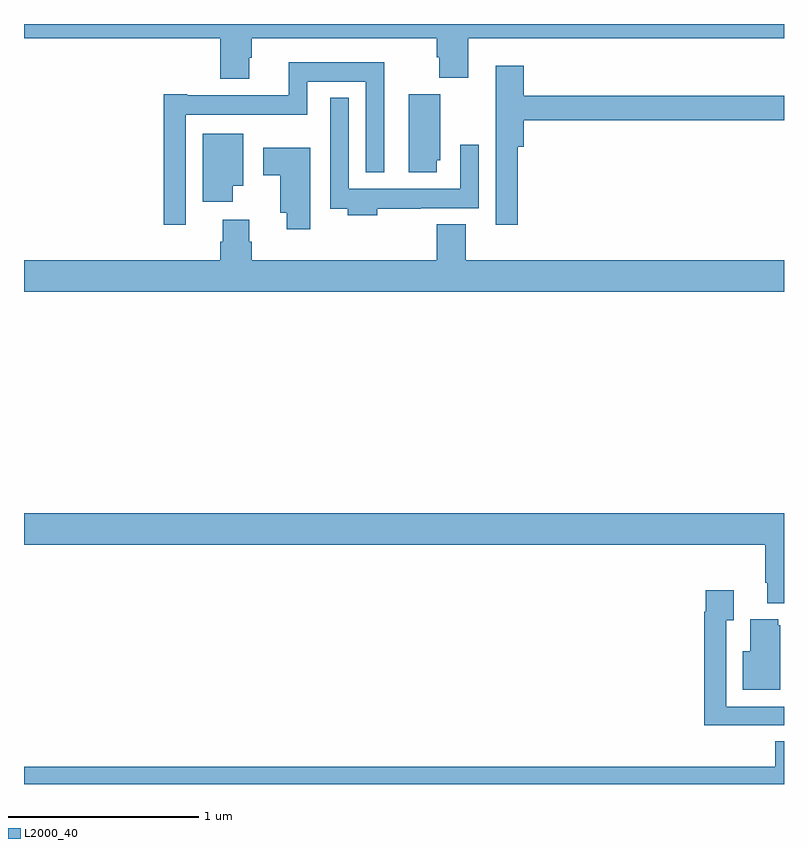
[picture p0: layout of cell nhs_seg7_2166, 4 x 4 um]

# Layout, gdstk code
import gdstk
lib = gdstk.Library(unit=1e-6, precision=1e-09)
def P(c, l, *ps):  # polygons
    for p in ps: c.add(gdstk.Polygon(p, *l))
L2000_40 = (2000, 40)

nhs_seg7_2166 = lib.new_cell('nhs_seg7_2166')
P(nhs_seg7_2166, L2000_40, [(254.185,1025.823),(254.198,1025.823),(254.198,1025.924),(255.173,1025.924),(255.173,1025.825),(255.185,1025.825),(255.185,1025.716),(255.338,1025.716),(255.338,1025.924),(257,1025.924),(257,1026),(253,1026),(253,1025.924),(254.033,1025.924),(254.033,1025.711),(254.185,1025.711)],
  [(253.851,1025.522),(254.49,1025.522),(254.49,1025.696),(254.799,1025.696),(254.799,1025.219),(254.896,1025.219),(254.896,1025.8),(254.393,1025.8),(254.393,1025.626),(253.858,1025.626),(253.858,1025.629),(253.735,1025.629),(253.735,1024.944),(253.851,1024.944)],
  [(255.599,1025.354),(255.629,1025.354),(255.629,1025.494),(257,1025.494),(257,1025.623),(255.629,1025.623),(255.629,1025.779),(255.482,1025.779),(255.482,1025.517),(255.483,1025.517),(255.483,1024.944),(255.599,1024.944)],
  [(255.172,1025.283),(255.19,1025.283),(255.19,1025.631),(255.026,1025.631),(255.026,1025.22),(255.172,1025.22)],
  [(254.858,1025.028),(255.089,1025.028),(255.089,1025.03),(255.393,1025.03),(255.393,1025.365),(255.297,1025.365),(255.297,1025.134),(254.709,1025.134),(254.709,1025.611),(254.613,1025.611),(254.613,1025.028),(254.705,1025.028),(254.705,1024.994),(254.858,1024.994)],
  [(254.098,1025.15),(254.155,1025.15),(254.155,1025.422),(253.94,1025.422),(253.94,1025.064),(254.098,1025.064)],
  [(254.506,1025.35),(254.259,1025.35),(254.259,1025.203),(254.348,1025.203),(254.348,1025.006),(254.384,1025.006),(254.384,1024.92),(254.506,1024.92)],
  [(257,1024.756),(255.325,1024.756),(255.325,1024.945),(255.173,1024.945),(255.173,1024.756),(254.198,1024.756),(254.198,1024.854),(254.185,1024.854),(254.185,1024.969),(254.045,1024.969),(254.045,1024.854),(254.033,1024.854),(254.033,1024.756),(253,1024.756),(253,1024.592),(257,1024.592)],
  [(257,1023.424),(253,1023.424),(253,1023.26),(256.901,1023.26),(256.901,1023.058),(256.913,1023.058),(256.913,1022.951),(257,1022.951)],
  [(256.871,1022.31),(257,1022.31),(257,1022.406),(256.695,1022.406),(256.695,1022.863),(256.735,1022.863),(256.735,1023.019),(256.587,1023.019),(256.587,1022.906),(256.579,1022.906),(256.579,1022.309),(256.871,1022.309)],
  [(256.981,1022.835),(256.97,1022.835),(256.97,1022.866),(256.823,1022.866),(256.823,1022.698),(256.784,1022.698),(256.784,1022.495),(256.981,1022.495)],
  [(257,1022.225),(256.955,1022.225),(256.955,1022.092),(253,1022.092),(253,1022),(257,1022)])

lib.write_gds('nhs_seg7_2166.gds')
